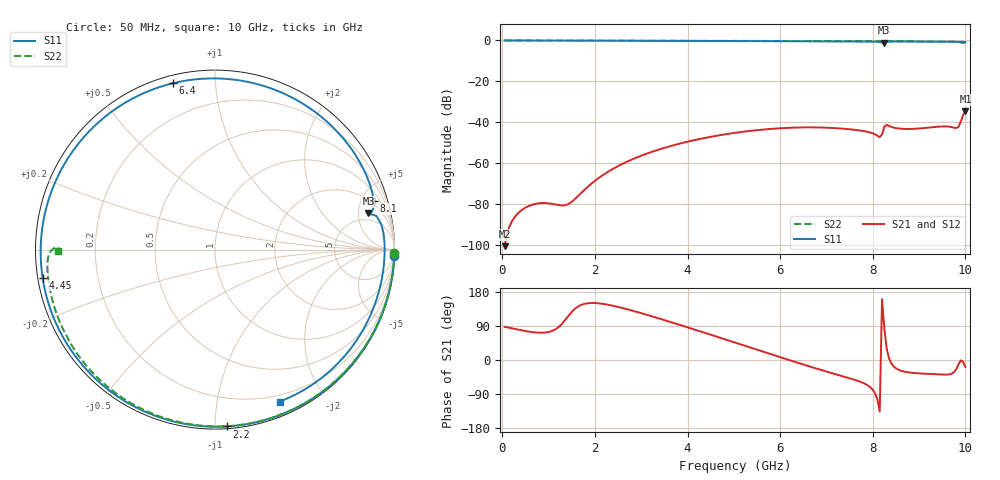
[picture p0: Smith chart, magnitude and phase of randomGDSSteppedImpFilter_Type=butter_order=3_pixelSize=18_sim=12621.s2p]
! freq	dB(S11)	phase(S11)	dB(S12)	phase(S12)
!  dB(S21)	phase(S21)	dB(S22)	phase(S22)
!S-par simulation data
#  GHz  S  DB  R 50
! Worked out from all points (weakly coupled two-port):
!   200 points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, 50 MHz to 10 GHz, reference 50 ohm
!   highest |S21| = -34.70 dB at 10 GHz (marker M1); lowest = -100.7 dB at 50 MHz (marker M2)
!   lowest |S11| = -1.1 dB at 8.25 GHz (marker M3), VSWR 15.44, Z = 184 + j326 ohm
!   |S11| at or under -10 dB: nowhere
!   |S22| runs from -1.2 to 0.0 dB; largest |S21 - S12| = 0
!   S11 on the Smith chart (normalised r, x): 50 MHz: 1, -56; 2.2 GHz: 0.01, -1.07; 4.45 GHz: 0.01, -0.08; 6.4 GHz: 0.04, +0.78; 8.1 GHz: 1.66, +6.22; 10 GHz: 0.14, -1.50
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0.05  -0.01 -2.1  -100.72 87.3  -100.72 87.3  -0.00 -1.0
0.7  -0.03 -28.1  -80.09 72.8  -80.09 72.8  -0.02 -14.3
1.4  -0.07 -55.7  -80.35 112.1  -80.35 112.1  -0.04 -28.4
1.75  -0.09 -69.1  -73.65 147.3  -73.65 147.3  -0.04 -35.3
2.2  -0.11 -86.2  -65.50 147.6  -65.50 147.6  -0.06 -44.1
2.8  -0.14 -108.6  -58.28 130.5  -58.28 130.5  -0.07 -55.6
3.4  -0.17 -130.9  -53.27 109.0  -53.27 109.0  -0.09 -66.8
4.45  -0.24 -170.8  -47.39 68.7  -47.39 68.7  -0.12 -85.6
5.05  -0.28 165.0  -45.15 45.1  -45.15 45.1  -0.15 -96.0
5.7  -0.33 137.0  -43.48 19.3  -43.48 19.3  -0.18 -107.0
6.4  -0.39 104.2  -42.61 -8.1  -42.61 -8.1  -0.22 -118.5
6.7  -0.41 89.4  -42.56 -19.5  -42.56 -19.5  -0.24 -123.5
7.35  -0.46 56.3  -43.18 -42.8  -43.18 -42.8  -0.29 -134.1
7.75  -0.50 35.6  -44.17 -58.3  -44.17 -58.3  -0.32 -140.6
8.1  -0.68 17.1  -46.65 -104.2  -46.65 -104.2  -0.35 -146.4
8.2  -1.08 12.6  -46.07 160.6  -46.07 160.6  -0.37 -148.1
8.25  -1.13 13.3  -42.19 82.7  -42.19 82.7  -0.39 -148.9
8.35  -0.56 8.5  -41.83 4.6  -41.83 4.6  -0.39 -150.5
9  -0.54 -24.1  -43.11 -35.3  -43.11 -35.3  -0.45 -161.7
9.8  -0.68 -58.9  -42.92 -25.0  -42.92 -25.0  -0.65 -178.0
9.85  -0.69 -60.9  -42.30 -12.0  -42.30 -12.0  -0.75 -179.4
10  -0.72 -66.9  -34.70 -18.3  -34.70 -18.3  -1.19 -179.7
